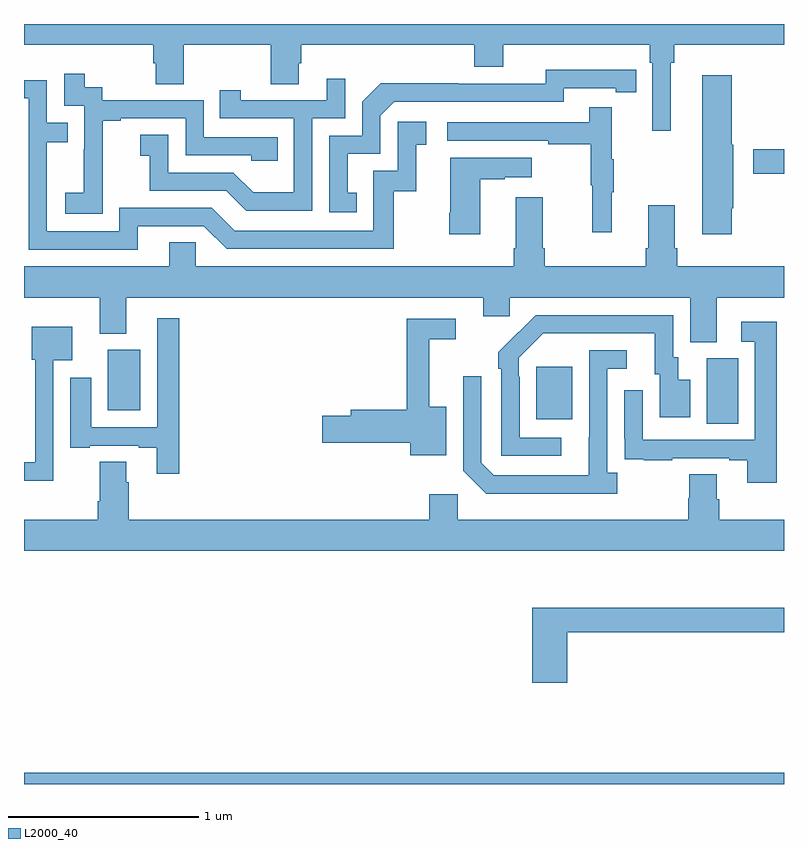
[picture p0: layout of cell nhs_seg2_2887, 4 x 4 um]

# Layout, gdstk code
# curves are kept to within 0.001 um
import gdstk
lib = gdstk.Library(unit=1e-6, precision=1e-09)
def R(c, l, rs):  # rectangles x0, y0, x1, y1
    for r in rs: c.add(gdstk.rectangle(r[:2], r[2:], *l))
def P(c, l, *ps):  # polygons
    for p in ps: c.add(gdstk.Polygon(p, *l))
L2000_40 = (2000, 40)

nhs_seg2_2887 = lib.new_cell('nhs_seg2_2887')
R(nhs_seg2_2887, L2000_40, [(263,587.8,267,587.86), (266.594,589.696,266.758,590.04), (265.697,589.721,265.885,589.996), (263.441,589.766,263.611,590.086), (266.838,591.013,267,591.142)])
P(nhs_seg2_2887, L2000_40, [(266.404,591.596),(266.423,591.596),(266.423,591.692),(267,591.692),(267,591.8),(263,591.8),(263,591.692),(263.681,591.692),(263.681,591.594),(263.693,591.594),(263.693,591.484),(263.841,591.484),(263.841,591.692),(264.298,591.692),(264.298,591.484),(264.445,591.484),(264.445,591.594),(264.458,591.594),(264.458,591.692),(265.37,591.692),(265.37,591.575),(265.522,591.575),(265.522,591.692),(266.294,591.692),(266.294,591.596),(266.307,591.596),(266.307,591.237),(266.404,591.237)],
  [(264.752,590.913),(264.703,590.913),(264.703,591.117),(264.876,591.117),(264.876,591.318),(264.948,591.39),(265.842,591.39),(265.842,591.462),(266.114,591.462),(266.114,591.442),(266.222,591.442),(266.222,591.558),(265.746,591.559),(265.746,591.486),(265.286,591.486),(265.286,591.488),(264.878,591.488),(264.78,591.39),(264.78,591.213),(264.606,591.213),(264.606,590.808),(264.752,590.808)],
  [(263.415,591.007),(263.414,591.007),(263.414,591.291),(263.509,591.291),(263.509,591.303),(263.85,591.303),(263.85,591.108),(264.195,591.108),(264.195,591.081),(264.335,591.081),(264.335,591.204),(263.946,591.204),(263.946,591.399),(263.412,591.399),(263.412,591.468),(263.32,591.468),(263.32,591.538),(263.211,591.538),(263.211,591.369),(263.316,591.369),(263.316,591.14),(263.315,591.14),(263.315,590.911),(263.217,590.911),(263.217,590.801),(263.415,590.801)],
  [(266.724,590.829),(266.734,590.829),(266.734,591.165),(266.724,591.165),(266.724,591.529),(266.57,591.529),(266.57,590.694),(266.724,590.694)],
  [(264.516,591.303),(264.69,591.303),(264.69,591.511),(264.593,591.511),(264.593,591.399),(264.142,591.399),(264.142,591.451),(264.031,591.451),(264.031,591.303),(264.42,591.303),(264.42,590.914),(264.206,590.914),(264.102,591.018),(263.76,591.018),(263.76,591.217),(263.613,591.217),(263.613,591.107),(263.662,591.107),(263.662,590.922),(264.065,590.922),(264.17,590.817),(264.516,590.817)],
  [(263.599,590.736),(263.946,590.736),(264.066,590.616),(264.946,590.616),(264.946,590.919),(265.064,590.919),(265.064,591.165),(265.117,591.165),(265.117,591.286),(264.966,591.286),(264.966,591.027),(264.837,591.027),(264.837,590.712),(264.108,590.712),(263.988,590.832),(263.502,590.832),(263.502,590.709),(263.121,590.709),(263.121,591.178),(263.231,591.178),(263.231,591.279),(263.121,591.279),(263.121,591.504),(263,591.504),(263,591.408),(263.025,591.408),(263.025,590.613),(263.599,590.613)],
  [(266.093,590.915),(266.104,590.915),(266.104,591.089),(266.093,591.089),(266.093,591.361),(265.975,591.361),(265.975,591.282),(265.227,591.282),(265.227,591.186),(265.759,591.186),(265.759,591.166),(265.983,591.166),(265.983,590.952),(265.99,590.952),(265.99,590.703),(266.093,590.703)],
  [(265.402,590.983),(265.529,590.983),(265.529,590.993),(265.672,590.993),(265.672,591.097),(265.244,591.097),(265.244,590.806),(265.237,590.806),(265.237,590.694),(265.402,590.694)],
  [(266.647,590.36),(267,590.36),(267,590.524),(266.438,590.524),(266.438,590.62),(266.425,590.62),(266.425,590.845),(266.285,590.845),(266.285,590.62),(266.273,590.62),(266.273,590.524),(265.742,590.524),(265.742,590.62),(265.729,590.62),(265.729,590.887),(265.589,590.887),(265.589,590.62),(265.577,590.62),(265.577,590.524),(263.904,590.524),(263.904,590.651),(263.765,590.651),(263.765,590.524),(263,590.524),(263,590.36),(263.399,590.36),(263.399,590.171),(263.539,590.171),(263.539,590.36),(265.418,590.36),(265.418,590.262),(265.557,590.262),(265.557,590.36),(266.507,590.36),(266.507,590.125),(266.647,590.125)],
  [(265.828,589.623),(265.608,589.623),(265.608,589.943),(265.605,589.943),(265.605,590.043),(265.734,590.172),(266.321,590.172),(266.321,589.956),(266.345,589.956),(266.345,589.731),(266.506,589.731),(266.506,589.927),(266.443,589.927),(266.443,590.046),(266.418,590.046),(266.418,590.268),(265.694,590.268),(265.497,590.073),(265.497,589.985),(265.512,589.985),(265.512,589.527),(265.828,589.527)],
  [(263.816,590.251),(263.7,590.251),(263.7,589.677),(263.353,589.677),(263.353,589.939),(263.243,589.939),(263.243,589.569),(263.347,589.569),(263.347,589.581),(263.603,589.581),(263.603,589.569),(263.699,589.569),(263.699,589.434),(263.816,589.434)],
  [(265.222,589.786),(265.133,589.786),(265.133,590.142),(265.273,590.142),(265.273,590.25),(265.015,590.25),(265.015,589.769),(264.719,589.769),(264.719,589.739),(264.57,589.739),(264.57,589.597),(265.034,589.597),(265.034,589.529),(265.222,589.529)],
  [(266.963,590.233),(266.775,590.233),(266.775,590.127),(266.847,590.127),(266.847,589.611),(266.256,589.611),(266.256,589.873),(266.16,589.873),(266.16,589.618),(266.161,589.618),(266.161,589.509),(266.263,589.509),(266.263,589.503),(266.411,589.503),(266.411,589.515),(266.711,589.515),(266.711,589.503),(266.807,589.503),(266.807,589.386),(266.963,589.386)],
  [(263.154,590.03),(263.254,590.03),(263.254,590.206),(263.042,590.206),(263.042,590.034),(263.058,590.034),(263.058,589.494),(263,589.494),(263,589.397),(263.154,589.397)],
  [(266.122,589.438),(266.07,589.438),(266.07,589.986),(266.173,589.986),(266.173,590.082),(265.974,590.082),(265.973,589.425),(265.473,589.425),(265.407,589.491),(265.407,589.945),(265.311,589.945),(265.311,589.449),(265.432,589.328),(266.122,589.328)],
  [(267,589.192),(266.66,589.192),(266.66,589.298),(266.647,589.298),(266.647,589.43),(266.5,589.43),(266.5,589.305),(266.495,589.305),(266.495,589.192),(265.284,589.192),(265.284,589.324),(265.133,589.324),(265.133,589.192),(263.552,589.192),(263.552,589.388),(263.539,589.388),(263.539,589.496),(263.399,589.496),(263.399,589.288),(263.387,589.288),(263.387,589.192),(263,589.192),(263,589.028),(267,589.028)],
  [(265.859,588.598),(267,588.598),(267,588.727),(265.676,588.727),(265.676,588.333),(265.859,588.333)])

lib.write_gds('nhs_seg2_2887.gds')
